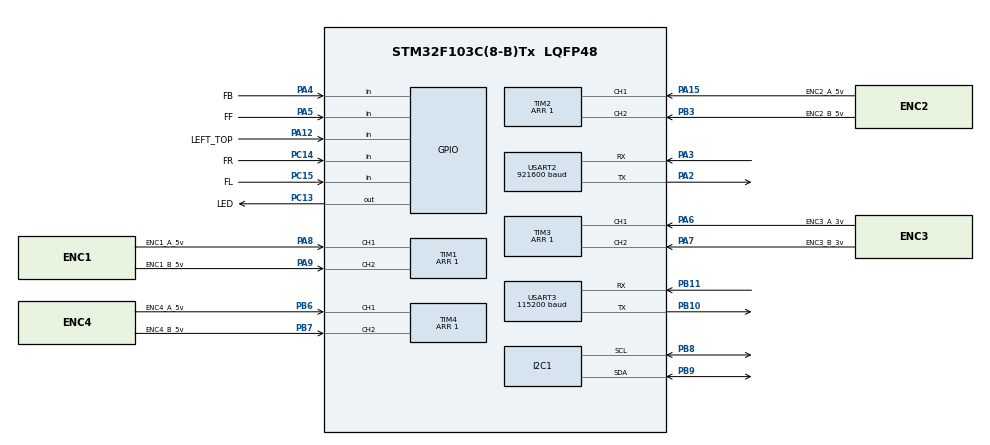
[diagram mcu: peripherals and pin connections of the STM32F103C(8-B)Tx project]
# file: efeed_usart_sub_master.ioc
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Mcu.Family=STM32F1
Mcu.Name=STM32F103C(8-B)Tx
Mcu.Package=LQFP48
NVIC.PriorityGroup=NVIC_PRIORITYGROUP_2
NVIC.TIM1_UP_IRQn=true\:0\:0\:false\:false\:true\:true\:true\:true
NVIC.TIM2_IRQn=true\:0\:0\:false\:false\:true\:true\:true\:true
NVIC.TIM3_IRQn=true\:0\:0\:false\:false\:true\:true\:true\:true
NVIC.TIM4_IRQn=true\:0\:0\:false\:false\:true\:true\:true\:true
NVIC.USART2_IRQn=true\:0\:0\:false\:false\:true\:true\:true\:true
NVIC.USART3_IRQn=true\:0\:0\:false\:false\:true\:true\:true\:true
PA12.GPIO_Label=LEFT_TOP
PA12.GPIO_PuPd=GPIO_PULLUP
PA12.Signal=GPIO_Input
PA13.Mode=Serial_Wire
PA13.Signal=SYS_JTMS-SWDIO
PA14.Mode=Serial_Wire
PA14.Signal=SYS_JTCK-SWCLK
PA15.GPIO_Label=ENC2_A_5v
PA15.GPIO_PuPd=GPIO_PULLUP
PA15.Signal=S_TIM2_CH1_ETR
PA2.Mode=Asynchronous
PA2.Signal=USART2_TX
PA3.Mode=Asynchronous
PA3.Signal=USART2_RX
PA4.GPIO_Label=FB
PA4.GPIO_PuPd=GPIO_PULLUP
PA4.Signal=GPIO_Input
PA5.GPIO_Label=FF
PA5.GPIO_PuPd=GPIO_PULLUP
PA5.Signal=GPIO_Input
PA6.GPIO_Label=ENC3_A_3v
PA6.GPIO_PuPd=GPIO_PULLUP
PA6.Signal=S_TIM3_CH1
PA7.GPIO_Label=ENC3_B_3v
PA7.GPIO_PuPd=GPIO_PULLUP
PA7.Signal=S_TIM3_CH2
PA8.GPIO_Label=ENC1_A_5v
PA8.GPIO_PuPd=GPIO_PULLUP
PA8.Signal=S_TIM1_CH1
PA9.GPIO_Label=ENC1_B_5v
PA9.GPIO_PuPd=GPIO_PULLUP
PA9.Signal=S_TIM1_CH2
PB10.Mode=Asynchronous
PB10.Signal=USART3_TX
PB11.Mode=Asynchronous
PB11.Signal=USART3_RX
PB3.GPIO_Label=ENC2_B_5v
PB3.GPIO_PuPd=GPIO_PULLUP
PB3.Signal=S_TIM2_CH2
PB6.GPIO_Label=ENC4_A_5v
PB6.GPIO_PuPd=GPIO_PULLUP
PB6.Signal=S_TIM4_CH1
PB7.GPIO_Label=ENC4_B_5v
PB7.GPIO_PuPd=GPIO_PULLUP
PB7.Signal=S_TIM4_CH2
PB8.Mode=I2C
PB8.Signal=I2C1_SCL
PB9.Mode=I2C
PB9.Signal=I2C1_SDA
PC13-TAMPER-RTC.GPIO_Label=LED
PC13-TAMPER-RTC.Signal=GPIO_Output
PC14-OSC32_IN.GPIO_Label=FR
PC14-OSC32_IN.GPIO_PuPd=GPIO_PULLUP
PC14-OSC32_IN.Signal=GPIO_Input
PC15-OSC32_OUT.GPIO_Label=FL
PC15-OSC32_OUT.GPIO_PuPd=GPIO_PULLUP
PC15-OSC32_OUT.Signal=GPIO_Input
PD0-OSC_IN.Mode=HSE-External-Oscillator
PD0-OSC_IN.Signal=RCC_OSC_IN
PD1-OSC_OUT.Mode=HSE-External-Oscillator
PD1-OSC_OUT.Signal=RCC_OSC_OUT
ProjectManager.HeapSize=0x200
ProjectManager.StackSize=0x400
ProjectManager.TargetToolchain=MDK-ARM V5
RCC.ADCPresc=RCC_ADCPCLK2_DIV4
RCC.AHBFreq_Value=72000000
RCC.APB1CLKDivider=RCC_HCLK_DIV2
RCC.APB1Freq_Value=36000000
RCC.APB1TimFreq_Value=72000000
RCC.APB2Freq_Value=72000000
RCC.APB2TimFreq_Value=72000000
RCC.HCLKFreq_Value=72000000
RCC.PLLMUL=RCC_PLL_MUL9
RCC.PLLSourceVirtual=RCC_PLLSOURCE_HSE
RCC.SYSCLKFreq_VALUE=72000000
RCC.SYSCLKSource=RCC_SYSCLKSOURCE_PLLCLK
RCC.USBFreq_Value=72000000
SH.S_TIM1_CH1.0=TIM1_CH1,Encoder_Interface
SH.S_TIM1_CH2.0=TIM1_CH2,Encoder_Interface
SH.S_TIM2_CH1_ETR.0=TIM2_CH1,Encoder_Interface
SH.S_TIM2_CH2.0=TIM2_CH2,Encoder_Interface
SH.S_TIM3_CH1.0=TIM3_CH1,Encoder_Interface
SH.S_TIM3_CH2.0=TIM3_CH2,Encoder_Interface
SH.S_TIM4_CH1.0=TIM4_CH1,Encoder_Interface
SH.S_TIM4_CH2.0=TIM4_CH2,Encoder_Interface
TIM1.AutoReloadPreload=TIM_AUTORELOAD_PRELOAD_ENABLE
TIM1.EncoderMode=TIM_ENCODERMODE_TI1
TIM1.IC1Filter=15
TIM1.IC2Filter=15
TIM1.Period=1
TIM2.EncoderMode=TIM_ENCODERMODE_TI1
TIM2.IC1Filter=15
TIM2.IC1Polarity=TIM_ICPOLARITY_RISING
TIM2.IC2Filter=15
TIM2.IC2Polarity=TIM_ICPOLARITY_RISING
TIM2.Period=1
TIM3.IC1Filter=15
TIM3.IC2Filter=15
TIM3.Period=1
TIM4.EncoderMode=TIM_ENCODERMODE_TI1
TIM4.IC1Filter=15
TIM4.IC1Prescaler=TIM_ICPSC_DIV1
TIM4.IC2Filter=15
TIM4.IC2Polarity=TIM_ICPOLARITY_RISING
TIM4.IC2Prescaler=TIM_ICPSC_DIV1
TIM4.Period=1
USART2.BaudRate=921600
USART2.VirtualMode=VM_ASYNC
USART3.BaudRate=115200
USART3.VirtualMode=VM_ASYNC
VP_CRC_VS_CRC.Mode=CRC_Activate
board=efeed

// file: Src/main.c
/* USER CODE BEGIN Header */
/**
  ******************************************************************************
  * @file           : main.c
  * @brief          : Main program body
  ******************************************************************************
  ** This notice applies to any and all portions of this file
  * that are not between comment pairs USER CODE BEGIN and
  * USER CODE END. Other portions of this file, whether
  * inserted by the user or by software development tools
  * are owned by their respective copyright owners.
  *
  * COPYRIGHT(c) 2019 STMicroelectronics
  *
  * Redistribution and use in source and binary forms, with or without modification,
  * are permitted provided that the following conditions are met:
  *   1. Redistributions of source code must retain the above copyright notice,
  *      this list of conditions and the following disclaimer.
  *   2. Redistributions in binary form must reproduce the above copyright notice,
  *      this list of conditions and the following disclaimer in the documentation
  *      and/or other materials provided with the distribution.
  *   3. Neither the name of STMicroelectronics nor the names of its contributors
  *      may be used to endorse or promote products derived from this software
  *      without specific prior written permission.
  *
  * THIS SOFTWARE IS PROVIDED BY THE COPYRIGHT HOLDERS AND CONTRIBUTORS "AS IS"
  * AND ANY EXPRESS OR IMPLIED WARRANTIES, INCLUDING, BUT NOT LIMITED TO, THE
  * IMPLIED WARRANTIES OF MERCHANTABILITY AND FITNESS FOR A PARTICULAR PURPOSE ARE
  * DISCLAIMED. IN NO EVENT SHALL THE COPYRIGHT HOLDER OR CONTRIBUTORS BE LIABLE
  * FOR ANY DIRECT, INDIRECT, INCIDENTAL, SPECIAL, EXEMPLARY, OR CONSEQUENTIAL
  * DAMAGES (INCLUDING, BUT NOT LIMITED TO, PROCUREMENT OF SUBSTITUTE GOODS OR
  * SERVICES; LOSS OF USE, DATA, OR PROFITS; OR BUSINESS INTERRUPTION) HOWEVER
  * CAUSED AND ON ANY THEORY OF LIABILITY, WHETHER IN CONTRACT, STRICT LIABILITY,
  * OR TORT (INCLUDING NEGLIGENCE OR OTHERWISE) ARISING IN ANY WAY OUT OF THE USE
  * OF THIS SOFTWARE, EVEN IF ADVISED OF THE POSSIBILITY OF SUCH DAMAGE.
  *
  ******************************************************************************
  */
/* USER CODE END Header */
#include "main.h"

/* USER CODE BEGIN Includes */
#include "stm32f1xx_it.h"

#include <string.h>
#include <math.h>

#include "buttons.h"

//#define ARM_MATH_CM3
//#include "arm_math.h"
/* USER CODE END Includes */

/* USER CODE BEGIN PV */

__IO uint8_t ubI2C_slave_addr = 0;
__IO uint8_t ubMasterRequestDirection  = 0;

//int count;
extern bool demo;
/*
G18 - XZ-plane
G98 - retract to the position that axis was in just before this series of one or more contiguous canned cycles was started
G50 set spindle speed
G28, G28.1 Go to Predefined Position
G54-G59.3 Select Coordinate System
G96, G97 Spindle Control Mode, G97 (RPM Mode)
*/

// ***** Stepper Motor *****

bool menu_changed = false;

int32_t jog1 = 0, jog2 = 0, jog3 = 0, jog4 = 0;
int8_t jog1resolution = 0, jog1cmd = 0, jog2resolution = 0, jog2cmd = 0, jog3resolution = 0, jog3cmd = 0, jog4resolution = 0, jog4cmd = 0;

//#define _SIMU
bool auto_mode = false;
int32_t auto_mode_delay = -1; // default delay between change direction is 6 secons

#define RX_BUFFER_SIZE   64
uint8_t aRXBufferA[RX_BUFFER_SIZE];
uint8_t aRXBufferB[RX_BUFFER_SIZE];
uint8_t aRXBuffer[RX_BUFFER_SIZE];
uint8_t aRXBuffer_screen[RX_BUFFER_SIZE];
__IO uint32_t	uwNbReceivedChars;
__IO uint8_t	uNbReceivedCharsForUser;
__IO uint32_t	uwNbReceivedCharsB;
__IO uint8_t	uNbReceivedCharsForUserB;
__IO bool releaseTXtoBT = false;

__IO uint32_t	uwBufferReadyIndication;
uint8_t *pBufferReadyForUser;
uint8_t *pBufferReadyForReception;
__IO uint8_t ubUARTReceptionCompleteA = 0;
__IO uint8_t ubUARTReceptionCompleteB = 0;

/* Buffer used for transmission */
const uint8_t aTxBuffer[] = "ok\r\n";
uint8_t ubNbDataToTransmit = sizeof(aTxBuffer);
__IO uint8_t ubTransmissionComplete = 0;
__IO uint8_t  ubMasterXferDirection     = 0;
uint8_t       aMasterReceiveBuffer[0xF] = {0};
__IO uint8_t  ubMasterNbDataToReceive   = sizeof(aMasterReceiveBuffer);

/* USER CODE END PV */

void SystemClock_Config(void);
static void MX_GPIO_Init(void);
static void MX_CRC_Init(void);
static void MX_TIM4_Init(void);
static void MX_TIM3_Init(void);
static void MX_TIM1_Init(void);
static void MX_TIM2_Init(void);
static void MX_USART2_UART_Init(void);
static void MX_USART3_UART_Init(void);
static void MX_I2C1_Init(void);

/* USER CODE BEGIN 0 */

typedef struct circular_buffer
{
    volatile void *buffer;     // data buffer
    volatile void *buffer_end; // end of data buffer
    size_t capacity;  // maximum number of items in the buffer
    volatile size_t count;     // number of items in the buffer
    size_t sz;        // size of each item in the buffer
    void *head;       // pointer to head
    void *tail;       // pointer to tail
} circular_buffer;

void cb_init(circular_buffer *cb, size_t capacity, size_t sz)
{
    cb->buffer = malloc(capacity * sz);
    if(cb->buffer == NULL)
			return;
        // handle error
    cb->buffer_end = (char *)cb->buffer + capacity * sz;
    cb->capacity = capacity;
    cb->count = 0;
    cb->sz = sz;
    cb->head = cb->buffer;
    cb->tail = cb->buffer;
}

void cb_free(circular_buffer *cb)
{
    free(cb->buffer);
    // clear out other fields too, just to be safe
}

void cb_push_back(circular_buffer *cb, const void *item)
{
//    if(cb->count == cb->capacity)
        // handle error
    memcpy(cb->head, item, cb->sz);
    cb->head = (char*)cb->head + cb->sz;
    if(cb->head == cb->buffer_end)
        cb->head = cb->buffer;
    cb->count++;
}

void cb_push_back_uint8t(circular_buffer *cb, uint8_t item)
{
//    if(cb->count == cb->capacity)
        // handle error
    memcpy(cb->head, &item, cb->sz);
//		memset(cb->head, &item, cb->sz);
    cb->head = (char*)cb->head + cb->sz;
    if(cb->head == cb->buffer_end)
        cb->head = cb->buffer;
    cb->count++;
}

void cb_pop_front(circular_buffer *cb, void *item)
{
    if(cb->count == 0)
			return;
        // handle error
    memcpy(item, cb->tail, cb->sz);
    cb->tail = (char*)cb->tail + cb->sz;
    if(cb->tail == cb->buffer_end)
        cb->tail = cb->buffer;
    cb->count--;
}

circular_buffer uart2bt;
circular_buffer uart2lathe;

/**
  * @brief  Function called from DMA1 IRQ Handler when Rx transfer is completed
  * @param  None
  * @retval None
  */
//void DMA1_ReceiveComplete_Callback(void)
//{
  // DMA Rx transfer completed:
//  ubUART2ReceptionComplete = 1;
//}

/**
  * @brief  Function called from USART IRQ Handler when RXNE flag is set
  *         Function is in charge of reading character received on USART RX line.
  * @param  None
  * @retval None
  */
void USART_CharReception_Callback(void)
{
  /* Read Received character. RXNE flag is cleared by reading of DR register */
	uint8_t symbol = LL_USART_ReceiveData8(USART_controller);
	cb_push_back_uint8t(&uart2bt, symbol);
	if(symbol == '\n'){
		releaseTXtoBT = true;
	}
/*

	if(symbol == '\n'){
		if(uwNbReceivedChars == 1){
			memset(&aRXBufferA,0,RX_BUFFER_SIZE);
			uwNbReceivedChars = 0;
			return;
		}

		aRXBufferA[uwNbReceivedChars++] = symbol;
		ubUARTReceptionCompleteA = 1;
		uNbReceivedCharsForUser = uwNbReceivedChars;
		memset(&aRXBuffer,0,RX_BUFFER_SIZE);
		memcpy(&aRXBuffer,&aRXBufferA,uwNbReceivedChars);
		memset(&aRXBufferA,0,RX_BUFFER_SIZE);
    uwNbReceivedChars = 0;
	} else {
//		if(symbol != 0)
//  		LL_USART_TransmitData8(USART_screen, symbol); //
//  		LL_USART_TransmitData8(USART_screen, symbol); //
			aRXBufferA[uwNbReceivedChars++] = symbol;
	}
	*/
}

// get data from external device(phone, bluetooth)
void USART_CharReception_Callback_UP(void)
{
  /* Read Received character. RXNE flag is cleared by reading of DR register */
	uint8_t symbol = LL_USART_ReceiveData8(USART_screen);
	cb_push_back_uint8t(&uart2lathe, symbol);

	/*
	if(symbol == '\n'){
		if(uwNbReceivedCharsB == 1){
			memset(&aRXBufferB,0,RX_BUFFER_SIZE);
			uwNbReceivedCharsB = 0;
			return;
		}

		aRXBufferB[uwNbReceivedCharsB++] = symbol;
		ubUARTReceptionCompleteB = 1;
		uNbReceivedCharsForUserB = uwNbReceivedCharsB;
		memset(&aRXBuffer_screen,0,RX_BUFFER_SIZE);
		memcpy(&aRXBuffer_screen,&aRXBufferB,uwNbReceivedCharsB);
		memset(&aRXBufferB,0,RX_BUFFER_SIZE);
    uwNbReceivedCharsB = 0;
	} else {
//		if(symbol != 0)
			aRXBufferB[uwNbReceivedCharsB++] = symbol;
	}
*/
}

void Send2LatheOnly(char *String, uint32_t Size)
{
  uint8_t *pchar = (uint8_t *)String;
  for (int index = 0; index < Size; index++)
  {
		cb_push_back_uint8t(&uart2lathe, *pchar++);
	}
}

/*
void Send2LatheAndBluetooth(char *String, uint32_t Size)
{
  uint8_t *pchar = (uint8_t *)String;
  for (int index = 0; index < Size; index++)
  {
    uint8_t data = *pchar++;
		cb_push_back_uint8t(&uart2bt, data);
		cb_push_back_uint8t(&uart2lathe, data);
	}
}
*/
void SendByte2bt()
{
	if(!LL_USART_IsActiveFlag_TXE(USART_screen))
		return;
	uint8_t data;
	cb_pop_front(&uart2bt,&data);
  LL_USART_TransmitData8(USART_screen, data);
}

void SendByte2lathe()
{
	if(!LL_USART_IsActiveFlag_TXE(USART_controller))
		return;
	uint8_t data;
	cb_pop_front(&uart2lathe,&data);
  LL_USART_TransmitData8(USART_controller, data);
}

void Send2Bluetooth(char *String, uint32_t Size)
{
  uint32_t index = 0;
  uint8_t *pchar = (uint8_t *)String;

  /* Send characters one per one, until last char to be sent */
  for (index = 0; index < Size; index++)
  {
    /* Wait for TXE flag to be raised */
    while (!LL_USART_IsActiveFlag_TXE(USART_screen))
    {
    }

    /* Write character in Transmit Data register.
       TXE flag is cleared by writing data in DR register */
    LL_USART_TransmitData8(USART_screen, *pchar++);
  }

  /* Wait for TC flag to be raised for last char */
  while (!LL_USART_IsActiveFlag_TC(USART_screen))
  {
  }
}

void Send2Lathe(char *String, uint32_t Size)
{
  uint32_t index = 0;
  uint8_t *pchar = (uint8_t *)String;

  /* Send characters one per one, until last char to be sent */
  for (index = 0; index < Size; index++)
  {
    /* Wait for TXE flag to be raised */
    while (!LL_USART_IsActiveFlag_TXE(USART_controller))
    {
    }

    /* Write character in Transmit Data register.
       TXE flag is cleared by writing data in DR register */
    LL_USART_TransmitData8(USART_controller, *pchar++);
  }

  /* Wait for TC flag to be raised for last char */
  while (!LL_USART_IsActiveFlag_TC(USART_controller))
  {
  }
}

//#define _USEENCODER
/* USER CODE END 0 */

int main(void)
{

  /* USER CODE BEGIN 1 */
	cb_init(&uart2bt,  100, sizeof(uint8_t));
	cb_init(&uart2lathe,  100, sizeof(uint8_t));
//	cb_push_back_uint8t(&uart2bt, '!');

  /* USER CODE END 1 */

  /* MCU Configuration--------------------------------------------------------*/

  /* Reset of all peripherals, Initializes the Flash interface and the Systick. */
  LL_APB2_GRP1_EnableClock(LL_APB2_GRP1_PERIPH_AFIO);
  LL_APB1_GRP1_EnableClock(LL_APB1_GRP1_PERIPH_PWR);

  /* System interrupt init*/
  NVIC_SetPriorityGrouping(NVIC_PRIORITYGROUP_2);

  /** NOJTAG: JTAG-DP Disabled and SW-DP Enabled
  */
  LL_GPIO_AF_Remap_SWJ_NOJTAG();

  /* Configure the system clock */
  SystemClock_Config();

  /* USER CODE BEGIN SysInit */
	LL_SYSTICK_EnableIT();
  /* USER CODE END SysInit */

  /* Initialize all configured peripherals */
  MX_GPIO_Init();
  MX_CRC_Init();
  MX_TIM4_Init();
  MX_TIM3_Init();
  MX_TIM1_Init();
  MX_TIM2_Init();
  MX_USART2_UART_Init();
  MX_USART3_UART_Init();
  MX_I2C1_Init();
  /* USER CODE BEGIN 2 */

//	Send2Bluetooth("AT+UART=921600,0,0\r\n",20);
//	Send2Bluetooth("AT+UART?\r\n",10);

	init_buttons();

	// Enable DMA TX Interrupt
//  LL_USART_EnableDMAReq_TX(USART_controller);
  // Enable DMA Channel Tx
//  LL_DMA_EnableChannel(DMA1, LL_DMA_CHANNEL_7);

  // Clear Overrun flag, in case characters have already been sent to USART
  LL_USART_ClearFlag_ORE(USART_controller);
  // Enable RXNE and Error interrupts
  LL_USART_EnableIT_RXNE(USART_controller);
  LL_USART_EnableIT_ERROR(USART_controller);

// Clear Overrun flag, in case characters have already been sent to USART
  LL_USART_ClearFlag_ORE(USART_screen);
  // Enable RXNE and Error interrupts
  LL_USART_EnableIT_RXNE(USART_screen);
  LL_USART_EnableIT_ERROR(USART_screen);

// init encoder4:

	LL_TIM_ClearFlag_UPDATE(TIM4);
	LL_TIM_EnableUpdateEvent(TIM4);
	LL_TIM_EnableIT_UPDATE(TIM4);
	LL_TIM_EnableCounter(TIM4);

	LL_TIM_ClearFlag_UPDATE(TIM3);
	LL_TIM_EnableUpdateEvent(TIM3);
	LL_TIM_EnableIT_UPDATE(TIM3);
	LL_TIM_EnableCounter(TIM3);

	LL_GPIO_AF_EnableRemap_TIM2();
	LL_TIM_ClearFlag_UPDATE(TIM2);
	LL_TIM_EnableUpdateEvent(TIM2);
	LL_TIM_EnableIT_UPDATE(TIM2);
	LL_TIM_EnableCounter(TIM2);

/*
	LL_TIM_CC_EnableChannel(TIM2,LL_TIM_CHANNEL_CH1);
	LL_TIM_CC_EnableChannel(TIM2,LL_TIM_CHANNEL_CH2);

	LL_TIM_ENCODER_InitTypeDef TIM_EncoderInitStruct;
	LL_TIM_ENCODER_StructInit(&TIM_EncoderInitStruct);
	TIM_EncoderInitStruct.EncoderMode = LL_TIM_ENCODERMODE_X4_TI12;
	TIM_EncoderInitStruct.IC1Filter = LL_TIM_IC_FILTER_FDIV32_N8;
	TIM_EncoderInitStruct.IC2Filter = LL_TIM_IC_FILTER_FDIV32_N8;

	LL_GPIO_AF_EnableRemap_TIM2();
	LL_TIM_ENCODER_Init(TIM2, &TIM_EncoderInitStruct);
	LL_TIM_EnableIT_CC1(TIM2);
	LL_TIM_EnableIT_CC2(TIM2);
*/
//	LL_TIM_EnableIT_UPDATE(TIM2);
//	LL_TIM_EnableAllOutputs(TIM2);

  LL_GPIO_SetOutputPin(LED_GPIO_Port, LED_Pin);

  /* USER CODE END 2 */

  /* Infinite loop */
  /* USER CODE BEGIN WHILE */

  while (1)
  {
		process_button();
		switch(buttons_flag_set) {
			case long_press_start_FF:
				Send2LatheOnly("G0 X-200\r\n",10);
				break;
			case long_press_start_FB:
				Send2LatheOnly("G0 X200\r\n",9);
				break;
			case long_press_start_FL:
				Send2LatheOnly("G0 Z-200\r\n",10);
				break;
			case long_press_start_FR:
				Send2LatheOnly("G0 Z200\r\n",9);
				break;
			case long_press_end_FF:
			case long_press_end_FB:
			case long_press_end_FL:
			case long_press_end_FR: // stop current move

			case single_click_FF:
			case single_click_FB:
			case single_click_FL:
			case single_click_FR:
				// stop current move
				Send2LatheOnly("!S\r\n",4);
				break;
			case single_click_LEFT_TOP:// repeat last command
				Send2LatheOnly("!3\r\n",4);
//				Send2Bluetooth("!3\r\n",4);
				break;
			case long_press_start_LEFT_TOP: // stop current move
				Send2LatheOnly("!S\r\n",4);
//				Send2Bluetooth("!S\r\n",4);
				break;
		}
		buttons_flag_set = 0; // reset button flags

		if(releaseTXtoBT && uart2bt.count > 0){
		while(uart2bt.count > 0)
			SendByte2bt();
			releaseTXtoBT = false;
		}
		while(uart2lathe.count > 0)
			SendByte2lathe();

		if(jog2cmd > 0){
			switch(jog2cmd){
				case jog_cw:
					Send2LatheOnly("!w\n",3);

//				  Send2Lathe("!w\r\n",4);
//					Send2Bluetooth("!w\r\n",4);
					break;
				case jog_ccw:
					Send2LatheOnly("!s\n",3);
//					Send2Lathe("!s\r\n",4);
//					Send2Bluetooth("!s\r\n",4);
					break;
			}
			jog2cmd = 0;
		}

		if(jog3cmd > 0){
			switch(jog3cmd){
				case jog_cw:
					Send2LatheOnly("!g\n",3);
//					Send2Lathe("!g\r\n",4);
//					Send2Bluetooth("!g\r\n",4);
					break;
				case jog_ccw:
					Send2LatheOnly("!t\n",3);
//					Send2Lathe("!t\r\n",4);
//					Send2Bluetooth("!t\r\n",4);
					break;
			}
			jog3cmd = 0;
		}

		if(jog4cmd > 0){
			switch(jog4cmd){
				case jog1l:
					Send2LatheOnly("!a\n",3);
//					Send2Lathe("!a\r\n",4);
//					Send2Bluetooth("!a\r\n",4);
					break;
				case jog1r:
					Send2LatheOnly("!d\n",3);
//					Send2Lathe("!d\r\n",4);
//					Send2Bluetooth("!d\r\n",4);
					break;
				case jog1L:
					Send2LatheOnly("!A\r\n",4);
//					Send2Lathe("!A\r\n",4);
					break;
				case jog1R:
					Send2LatheOnly("!D\r\n",4);
//					Send2Lathe("!D\r\n",4);
					break;
			}
			jog4cmd = 0;
		}
// update display info
		if(menu_changed == 1){
//			menu_changed = update_screen();
		}

    /* USER CODE END WHILE */

  }
}

void SystemClock_Config(void)
{
  LL_FLASH_SetLatency(LL_FLASH_LATENCY_2);
  while(LL_FLASH_GetLatency()!= LL_FLASH_LATENCY_2)
  {
  }
  LL_RCC_HSE_Enable();

   /* Wait till HSE is ready */
  while(LL_RCC_HSE_IsReady() != 1)
  {

  }
  LL_RCC_PLL_ConfigDomain_SYS(LL_RCC_PLLSOURCE_HSE_DIV_1, LL_RCC_PLL_MUL_9);
  LL_RCC_PLL_Enable();

   /* Wait till PLL is ready */
  while(LL_RCC_PLL_IsReady() != 1)
  {

  }
  LL_RCC_SetAHBPrescaler(LL_RCC_SYSCLK_DIV_1);
  LL_RCC_SetAPB1Prescaler(LL_RCC_APB1_DIV_2);
  LL_RCC_SetAPB2Prescaler(LL_RCC_APB2_DIV_1);
  LL_RCC_SetSysClkSource(LL_RCC_SYS_CLKSOURCE_PLL);

   /* Wait till System clock is ready */
  while(LL_RCC_GetSysClkSource() != LL_RCC_SYS_CLKSOURCE_STATUS_PLL)
  {

  }
  LL_Init1msTick(72000000);
  LL_SetSystemCoreClock(72000000);
}

static void MX_CRC_Init(void)
{

  /* Peripheral clock enable */
  LL_AHB1_GRP1_EnableClock(LL_AHB1_GRP1_PERIPH_CRC);

}

static void MX_I2C1_Init(void)
{

  LL_I2C_InitTypeDef I2C_InitStruct = {0};

  LL_GPIO_InitTypeDef GPIO_InitStruct = {0};

  LL_APB2_GRP1_EnableClock(LL_APB2_GRP1_PERIPH_GPIOB);
  /**I2C1 GPIO Configuration
  PB8   ------> I2C1_SCL
  PB9   ------> I2C1_SDA
  */
  GPIO_InitStruct.Pin = LL_GPIO_PIN_8|LL_GPIO_PIN_9;
  GPIO_InitStruct.Mode = LL_GPIO_MODE_ALTERNATE;
  GPIO_InitStruct.Speed = LL_GPIO_SPEED_FREQ_HIGH;
  GPIO_InitStruct.OutputType = LL_GPIO_OUTPUT_OPENDRAIN;
  LL_GPIO_Init(GPIOB, &GPIO_InitStruct);

  LL_GPIO_AF_EnableRemap_I2C1();

  /* Peripheral clock enable */
  LL_APB1_GRP1_EnableClock(LL_APB1_GRP1_PERIPH_I2C1);

  /** I2C Initialization
  */
  LL_I2C_DisableOwnAddress2(I2C1);
  LL_I2C_DisableGeneralCall(I2C1);
  LL_I2C_EnableClockStretching(I2C1);
  I2C_InitStruct.PeripheralMode = LL_I2C_MODE_I2C;
  I2C_InitStruct.ClockSpeed = 100000;
  I2C_InitStruct.DutyCycle = LL_I2C_DUTYCYCLE_2;
  I2C_InitStruct.OwnAddress1 = 0;
  I2C_InitStruct.TypeAcknowledge = LL_I2C_ACK;
  I2C_InitStruct.OwnAddrSize = LL_I2C_OWNADDRESS1_7BIT;
  LL_I2C_Init(I2C1, &I2C_InitStruct);
  LL_I2C_SetOwnAddress2(I2C1, 0);

}

static void MX_TIM1_Init(void)
{

  LL_TIM_InitTypeDef TIM_InitStruct = {0};

  LL_GPIO_InitTypeDef GPIO_InitStruct = {0};

  /* Peripheral clock enable */
  LL_APB2_GRP1_EnableClock(LL_APB2_GRP1_PERIPH_TIM1);

  LL_APB2_GRP1_EnableClock(LL_APB2_GRP1_PERIPH_GPIOA);
  /**TIM1 GPIO Configuration
  PA8   ------> TIM1_CH1
  PA9   ------> TIM1_CH2
  */
  GPIO_InitStruct.Pin = ENC1_A_5v_Pin|ENC1_B_5v_Pin;
  GPIO_InitStruct.Mode = LL_GPIO_MODE_INPUT;
  GPIO_InitStruct.Pull = LL_GPIO_PULL_UP;
  LL_GPIO_Init(GPIOA, &GPIO_InitStruct);

  /* TIM1 interrupt Init */
  NVIC_SetPriority(TIM1_UP_IRQn, NVIC_EncodePriority(NVIC_GetPriorityGrouping(),0, 0));
  NVIC_EnableIRQ(TIM1_UP_IRQn);

  LL_TIM_SetEncoderMode(TIM1, LL_TIM_ENCODERMODE_X2_TI1);
  LL_TIM_IC_SetActiveInput(TIM1, LL_TIM_CHANNEL_CH1, LL_TIM_ACTIVEINPUT_DIRECTTI);
  LL_TIM_IC_SetPrescaler(TIM1, LL_TIM_CHANNEL_CH1, LL_TIM_ICPSC_DIV1);
  LL_TIM_IC_SetFilter(TIM1, LL_TIM_CHANNEL_CH1, LL_TIM_IC_FILTER_FDIV32_N8);
  LL_TIM_IC_SetPolarity(TIM1, LL_TIM_CHANNEL_CH1, LL_TIM_IC_POLARITY_RISING);
  LL_TIM_IC_SetActiveInput(TIM1, LL_TIM_CHANNEL_CH2, LL_TIM_ACTIVEINPUT_DIRECTTI);
  LL_TIM_IC_SetPrescaler(TIM1, LL_TIM_CHANNEL_CH2, LL_TIM_ICPSC_DIV1);
  LL_TIM_IC_SetFilter(TIM1, LL_TIM_CHANNEL_CH2, LL_TIM_IC_FILTER_FDIV32_N8);
  LL_TIM_IC_SetPolarity(TIM1, LL_TIM_CHANNEL_CH2, LL_TIM_IC_POLARITY_RISING);
  TIM_InitStruct.Prescaler = 0;
  TIM_InitStruct.CounterMode = LL_TIM_COUNTERMODE_UP;
  TIM_InitStruct.Autoreload = 1;
  TIM_InitStruct.ClockDivision = LL_TIM_CLOCKDIVISION_DIV1;
  TIM_InitStruct.RepetitionCounter = 0;
  LL_TIM_Init(TIM1, &TIM_InitStruct);
  LL_TIM_EnableARRPreload(TIM1);
  LL_TIM_SetTriggerOutput(TIM1, LL_TIM_TRGO_RESET);
  LL_TIM_DisableMasterSlaveMode(TIM1);

}

static void MX_TIM2_Init(void)
{

  LL_TIM_InitTypeDef TIM_InitStruct = {0};

  LL_GPIO_InitTypeDef GPIO_InitStruct = {0};

  /* Peripheral clock enable */
  LL_APB1_GRP1_EnableClock(LL_APB1_GRP1_PERIPH_TIM2);

  LL_APB2_GRP1_EnableClock(LL_APB2_GRP1_PERIPH_GPIOA);
  LL_APB2_GRP1_EnableClock(LL_APB2_GRP1_PERIPH_GPIOB);
  /**TIM2 GPIO Configuration
  PA15   ------> TIM2_CH1
  PB3   ------> TIM2_CH2
  */
  GPIO_InitStruct.Pin = ENC2_A_5v_Pin;
  GPIO_InitStruct.Mode = LL_GPIO_MODE_INPUT;
  GPIO_InitStruct.Pull = LL_GPIO_PULL_UP;
  LL_GPIO_Init(ENC2_A_5v_GPIO_Port, &GPIO_InitStruct);

  GPIO_InitStruct.Pin = ENC2_B_5v_Pin;
  GPIO_InitStruct.Mode = LL_GPIO_MODE_INPUT;
  GPIO_InitStruct.Pull = LL_GPIO_PULL_UP;
  LL_GPIO_Init(ENC2_B_5v_GPIO_Port, &GPIO_InitStruct);

  /* TIM2 interrupt Init */
  NVIC_SetPriority(TIM2_IRQn, NVIC_EncodePriority(NVIC_GetPriorityGrouping(),0, 0));
  NVIC_EnableIRQ(TIM2_IRQn);

  LL_TIM_SetEncoderMode(TIM2, LL_TIM_ENCODERMODE_X2_TI1);
  LL_TIM_IC_SetActiveInput(TIM2, LL_TIM_CHANNEL_CH1, LL_TIM_ACTIVEINPUT_DIRECTTI);
  LL_TIM_IC_SetPrescaler(TIM2, LL_TIM_CHANNEL_CH1, LL_TIM_ICPSC_DIV1);
  LL_TIM_IC_SetFilter(TIM2, LL_TIM_CHANNEL_CH1, LL_TIM_IC_FILTER_FDIV32_N8);
  LL_TIM_IC_SetPolarity(TIM2, LL_TIM_CHANNEL_CH1, LL_TIM_IC_POLARITY_RISING);
  LL_TIM_IC_SetActiveInput(TIM2, LL_TIM_CHANNEL_CH2, LL_TIM_ACTIVEINPUT_DIRECTTI);
  LL_TIM_IC_SetPrescaler(TIM2, LL_TIM_CHANNEL_CH2, LL_TIM_ICPSC_DIV1);
  LL_TIM_IC_SetFilter(TIM2, LL_TIM_CHANNEL_CH2, LL_TIM_IC_FILTER_FDIV32_N8);
  LL_TIM_IC_SetPolarity(TIM2, LL_TIM_CHANNEL_CH2, LL_TIM_IC_POLARITY_RISING);
  TIM_InitStruct.Prescaler = 0;
  TIM_InitStruct.CounterMode = LL_TIM_COUNTERMODE_UP;
  TIM_InitStruct.Autoreload = 1;
  TIM_InitStruct.ClockDivision = LL_TIM_CLOCKDIVISION_DIV1;
  LL_TIM_Init(TIM2, &TIM_InitStruct);
  LL_TIM_DisableARRPreload(TIM2);
  LL_TIM_SetTriggerOutput(TIM2, LL_TIM_TRGO_RESET);
  LL_TIM_DisableMasterSlaveMode(TIM2);

}

static void MX_TIM3_Init(void)
{

  LL_TIM_InitTypeDef TIM_InitStruct = {0};

  LL_GPIO_InitTypeDef GPIO_InitStruct = {0};

  /* Peripheral clock enable */
  LL_APB1_GRP1_EnableClock(LL_APB1_GRP1_PERIPH_TIM3);

  LL_APB2_GRP1_EnableClock(LL_APB2_GRP1_PERIPH_GPIOA);
  /**TIM3 GPIO Configuration
  PA6   ------> TIM3_CH1
  PA7   ------> TIM3_CH2
  */
  GPIO_InitStruct.Pin = ENC3_A_3v_Pin|ENC3_B_3v_Pin;
  GPIO_InitStruct.Mode = LL_GPIO_MODE_INPUT;
  GPIO_InitStruct.Pull = LL_GPIO_PULL_UP;
  LL_GPIO_Init(GPIOA, &GPIO_InitStruct);

  /* TIM3 interrupt Init */
  NVIC_SetPriority(TIM3_IRQn, NVIC_EncodePriority(NVIC_GetPriorityGrouping(),0, 0));
  NVIC_EnableIRQ(TIM3_IRQn);

  LL_TIM_SetEncoderMode(TIM3, LL_TIM_ENCODERMODE_X2_TI1);
  LL_TIM_IC_SetActiveInput(TIM3, LL_TIM_CHANNEL_CH1, LL_TIM_ACTIVEINPUT_DIRECTTI);
  LL_TIM_IC_SetPrescaler(TIM3, LL_TIM_CHANNEL_CH1, LL_TIM_ICPSC_DIV1);
  LL_TIM_IC_SetFilter(TIM3, LL_TIM_CHANNEL_CH1, LL_TIM_IC_FILTER_FDIV32_N8);
  LL_TIM_IC_SetPolarity(TIM3, LL_TIM_CHANNEL_CH1, LL_TIM_IC_POLARITY_RISING);
  LL_TIM_IC_SetActiveInput(TIM3, LL_TIM_CHANNEL_CH2, LL_TIM_ACTIVEINPUT_DIRECTTI);
  LL_TIM_IC_SetPrescaler(TIM3, LL_TIM_CHANNEL_CH2, LL_TIM_ICPSC_DIV1);
  LL_TIM_IC_SetFilter(TIM3, LL_TIM_CHANNEL_CH2, LL_TIM_IC_FILTER_FDIV32_N8);
  LL_TIM_IC_SetPolarity(TIM3, LL_TIM_CHANNEL_CH2, LL_TIM_IC_POLARITY_RISING);
  TIM_InitStruct.Prescaler = 0;
  TIM_InitStruct.CounterMode = LL_TIM_COUNTERMODE_UP;
  TIM_InitStruct.Autoreload = 1;
  TIM_InitStruct.ClockDivision = LL_TIM_CLOCKDIVISION_DIV1;
  LL_TIM_Init(TIM3, &TIM_InitStruct);
  LL_TIM_DisableARRPreload(TIM3);
  LL_TIM_SetTriggerOutput(TIM3, LL_TIM_TRGO_RESET);
  LL_TIM_DisableMasterSlaveMode(TIM3);

}

static void MX_TIM4_Init(void)
{

  LL_TIM_InitTypeDef TIM_InitStruct = {0};

  LL_GPIO_InitTypeDef GPIO_InitStruct = {0};

  /* Peripheral clock enable */
  LL_APB1_GRP1_EnableClock(LL_APB1_GRP1_PERIPH_TIM4);

  LL_APB2_GRP1_EnableClock(LL_APB2_GRP1_PERIPH_GPIOB);
  /**TIM4 GPIO Configuration
  PB6   ------> TIM4_CH1
  PB7   ------> TIM4_CH2
  */
  GPIO_InitStruct.Pin = ENC4_A_5v_Pin|ENC4_B_5v_Pin;
  GPIO_InitStruct.Mode = LL_GPIO_MODE_INPUT;
  GPIO_InitStruct.Pull = LL_GPIO_PULL_UP;
  LL_GPIO_Init(GPIOB, &GPIO_InitStruct);

  /* TIM4 interrupt Init */
  NVIC_SetPriority(TIM4_IRQn, NVIC_EncodePriority(NVIC_GetPriorityGrouping(),0, 0));
  NVIC_EnableIRQ(TIM4_IRQn);

  LL_TIM_SetEncoderMode(TIM4, LL_TIM_ENCODERMODE_X2_TI1);
  LL_TIM_IC_SetActiveInput(TIM4, LL_TIM_CHANNEL_CH1, LL_TIM_ACTIVEINPUT_DIRECTTI);
  LL_TIM_IC_SetPrescaler(TIM4, LL_TIM_CHANNEL_CH1, LL_TIM_ICPSC_DIV1);
  LL_TIM_IC_SetFilter(TIM4, LL_TIM_CHANNEL_CH1, LL_TIM_IC_FILTER_FDIV32_N8);
  LL_TIM_IC_SetPolarity(TIM4, LL_TIM_CHANNEL_CH1, LL_TIM_IC_POLARITY_RISING);
  LL_TIM_IC_SetActiveInput(TIM4, LL_TIM_CHANNEL_CH2, LL_TIM_ACTIVEINPUT_DIRECTTI);
  LL_TIM_IC_SetPrescaler(TIM4, LL_TIM_CHANNEL_CH2, LL_TIM_ICPSC_DIV1);
  LL_TIM_IC_SetFilter(TIM4, LL_TIM_CHANNEL_CH2, LL_TIM_IC_FILTER_FDIV32_N8);
  LL_TIM_IC_SetPolarity(TIM4, LL_TIM_CHANNEL_CH2, LL_TIM_IC_POLARITY_RISING);
  TIM_InitStruct.Prescaler = 0;
  TIM_InitStruct.CounterMode = LL_TIM_COUNTERMODE_UP;
  TIM_InitStruct.Autoreload = 1;
  TIM_InitStruct.ClockDivision = LL_TIM_CLOCKDIVISION_DIV1;
  LL_TIM_Init(TIM4, &TIM_InitStruct);
  LL_TIM_DisableARRPreload(TIM4);
  LL_TIM_SetTriggerOutput(TIM4, LL_TIM_TRGO_RESET);
  LL_TIM_DisableMasterSlaveMode(TIM4);

}

static void MX_USART2_UART_Init(void)
{

  LL_USART_InitTypeDef USART_InitStruct = {0};

  LL_GPIO_InitTypeDef GPIO_InitStruct = {0};

  /* Peripheral clock enable */
  LL_APB1_GRP1_EnableClock(LL_APB1_GRP1_PERIPH_USART2);

  LL_APB2_GRP1_EnableClock(LL_APB2_GRP1_PERIPH_GPIOA);
  /**USART2 GPIO Configuration
  PA2   ------> USART2_TX
  PA3   ------> USART2_RX
  */
  GPIO_InitStruct.Pin = LL_GPIO_PIN_2;
  GPIO_InitStruct.Mode = LL_GPIO_MODE_ALTERNATE;
  GPIO_InitStruct.Speed = LL_GPIO_SPEED_FREQ_HIGH;
  GPIO_InitStruct.OutputType = LL_GPIO_OUTPUT_PUSHPULL;
  LL_GPIO_Init(GPIOA, &GPIO_InitStruct);

  GPIO_InitStruct.Pin = LL_GPIO_PIN_3;
  GPIO_InitStruct.Mode = LL_GPIO_MODE_FLOATING;
  LL_GPIO_Init(GPIOA, &GPIO_InitStruct);

  /* USART2 interrupt Init */
  NVIC_SetPriority(USART2_IRQn, NVIC_EncodePriority(NVIC_GetPriorityGrouping(),0, 0));
  NVIC_EnableIRQ(USART2_IRQn);

  USART_InitStruct.BaudRate = 921600;
  USART_InitStruct.DataWidth = LL_USART_DATAWIDTH_8B;
  USART_InitStruct.StopBits = LL_USART_STOPBITS_1;
  USART_InitStruct.Parity = LL_USART_PARITY_NONE;
  USART_InitStruct.TransferDirection = LL_USART_DIRECTION_TX_RX;
  USART_InitStruct.HardwareFlowControl = LL_USART_HWCONTROL_NONE;
  USART_InitStruct.OverSampling = LL_USART_OVERSAMPLING_16;
  LL_USART_Init(USART2, &USART_InitStruct);
  LL_USART_ConfigAsyncMode(USART2);
  LL_USART_Enable(USART2);

}

static void MX_USART3_UART_Init(void)
{

  LL_USART_InitTypeDef USART_InitStruct = {0};

  LL_GPIO_InitTypeDef GPIO_InitStruct = {0};

  /* Peripheral clock enable */
  LL_APB1_GRP1_EnableClock(LL_APB1_GRP1_PERIPH_USART3);

  LL_APB2_GRP1_EnableClock(LL_APB2_GRP1_PERIPH_GPIOB);
  /**USART3 GPIO Configuration
  PB10   ------> USART3_TX
  PB11   ------> USART3_RX
  */
  GPIO_InitStruct.Pin = LL_GPIO_PIN_10;
  GPIO_InitStruct.Mode = LL_GPIO_MODE_ALTERNATE;
  GPIO_InitStruct.Speed = LL_GPIO_SPEED_FREQ_HIGH;
  GPIO_InitStruct.OutputType = LL_GPIO_OUTPUT_PUSHPULL;
  LL_GPIO_Init(GPIOB, &GPIO_InitStruct);

  GPIO_InitStruct.Pin = LL_GPIO_PIN_11;
  GPIO_InitStruct.Mode = LL_GPIO_MODE_FLOATING;
  LL_GPIO_Init(GPIOB, &GPIO_InitStruct);

  /* USART3 interrupt Init */
  NVIC_SetPriority(USART3_IRQn, NVIC_EncodePriority(NVIC_GetPriorityGrouping(),0, 0));
  NVIC_EnableIRQ(USART3_IRQn);

  USART_InitStruct.BaudRate = 115200;
  USART_InitStruct.DataWidth = LL_USART_DATAWIDTH_8B;
  USART_InitStruct.StopBits = LL_USART_STOPBITS_1;
  USART_InitStruct.Parity = LL_USART_PARITY_NONE;
  USART_InitStruct.TransferDirection = LL_USART_DIRECTION_TX_RX;
  USART_InitStruct.HardwareFlowControl = LL_USART_HWCONTROL_NONE;
  USART_InitStruct.OverSampling = LL_USART_OVERSAMPLING_16;
  LL_USART_Init(USART3, &USART_InitStruct);
  LL_USART_ConfigAsyncMode(USART3);
  LL_USART_Enable(USART3);

}

static void MX_GPIO_Init(void)
{
  LL_GPIO_InitTypeDef GPIO_InitStruct = {0};

  /* GPIO Ports Clock Enable */
  LL_APB2_GRP1_EnableClock(LL_APB2_GRP1_PERIPH_GPIOC);
  LL_APB2_GRP1_EnableClock(LL_APB2_GRP1_PERIPH_GPIOD);
  LL_APB2_GRP1_EnableClock(LL_APB2_GRP1_PERIPH_GPIOA);
  LL_APB2_GRP1_EnableClock(LL_APB2_GRP1_PERIPH_GPIOB);

  /**/
  LL_GPIO_ResetOutputPin(LED_GPIO_Port, LED_Pin);

  /**/
  GPIO_InitStruct.Pin = LED_Pin;
  GPIO_InitStruct.Mode = LL_GPIO_MODE_OUTPUT;
  GPIO_InitStruct.Speed = LL_GPIO_SPEED_FREQ_LOW;
  GPIO_InitStruct.OutputType = LL_GPIO_OUTPUT_PUSHPULL;
  LL_GPIO_Init(LED_GPIO_Port, &GPIO_InitStruct);

  /**/
  GPIO_InitStruct.Pin = FR_Pin|FL_Pin;
  GPIO_InitStruct.Mode = LL_GPIO_MODE_INPUT;
  GPIO_InitStruct.Pull = LL_GPIO_PULL_UP;
  LL_GPIO_Init(GPIOC, &GPIO_InitStruct);

  /**/
  GPIO_InitStruct.Pin = LL_GPIO_PIN_0|LL_GPIO_PIN_1|LL_GPIO_PIN_10|LL_GPIO_PIN_11;
  GPIO_InitStruct.Mode = LL_GPIO_MODE_ANALOG;
  LL_GPIO_Init(GPIOA, &GPIO_InitStruct);

  /**/
  GPIO_InitStruct.Pin = FB_Pin|FF_Pin|LEFT_TOP_Pin;
  GPIO_InitStruct.Mode = LL_GPIO_MODE_INPUT;
  GPIO_InitStruct.Pull = LL_GPIO_PULL_UP;
  LL_GPIO_Init(GPIOA, &GPIO_InitStruct);

  /**/
  GPIO_InitStruct.Pin = LL_GPIO_PIN_0|LL_GPIO_PIN_1|LL_GPIO_PIN_2|LL_GPIO_PIN_12
                          |LL_GPIO_PIN_13|LL_GPIO_PIN_14|LL_GPIO_PIN_15|LL_GPIO_PIN_4
                          |LL_GPIO_PIN_5;
  GPIO_InitStruct.Mode = LL_GPIO_MODE_ANALOG;
  LL_GPIO_Init(GPIOB, &GPIO_InitStruct);

}

/* USER CODE BEGIN 4 */
/*
void HAL_TIM_IC_CaptureCallback(TIM_HandleTypeDef*timIC)
{
	if (timIC->Channel == HAL_TIM_ACTIVE_CHANNEL_3) {

	}

//	if(ready!=SET)return;
//HAL_TIM_ReadCapturedValue(timIC,TIM_CHANNEL_3);
}
*/
/* USER CODE END 4 */

void Error_Handler(void)
{
  /* USER CODE BEGIN Error_Handler_Debug */
	/* User can add his own implementation to report the HAL error return state */
	TIM1->CR1 = TIM2->CR1 = TIM3->CR1 = TIM4->CR1 = 0;
	while (1) {
	}
  /* USER CODE END Error_Handler_Debug */
}
